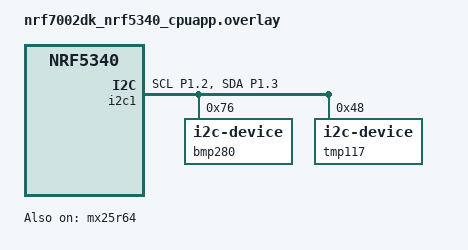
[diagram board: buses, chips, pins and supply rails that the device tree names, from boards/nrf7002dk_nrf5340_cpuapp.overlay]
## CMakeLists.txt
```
cmake_minimum_required(VERSION 3.20.0)

find_package(Zephyr REQUIRED HINTS $ENV{ZEPHYR_BASE})
project(ota_firmware_project)

target_sources(app PRIVATE
    src/main.c
    src/wifi_mgr.c
    src/ota_http.c
    src/user_applications.c
    src/Led_Blink.c
    src/Sensors_OTA.c
)
```

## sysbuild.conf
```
SB_CONFIG_BOOTLOADER_MCUBOOT=y
SB_CONFIG_WIFI_NRF70=y
```

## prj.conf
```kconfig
# =============================================================================
# OTA_FIRM — prj.conf
# Board: nRF7002 DK (nRF5340 Application Core)
# SDK:   nRF Connect SDK v3.2.4 / Zephyr v4.2.99
# Mode:  Internal-flash-only OTA via MCUboot overwrite
# =============================================================================

# --- MCUboot and OTA FOTA ---
CONFIG_BOOTLOADER_MCUBOOT=y
CONFIG_IMG_MANAGER=y
CONFIG_MCUBOOT_IMG_MANAGER=y
CONFIG_STREAM_FLASH=y
CONFIG_FLASH_MAP=y
CONFIG_FLASH=y

# --- External Flash (SPI NOR) ---
CONFIG_SPI=y
CONFIG_SPI_NOR=y
CONFIG_PM_EXTERNAL_FLASH_MCUBOOT_SECONDARY=y

# Phase 3 (Logic only): Enable JSON parsing & CRC checks
CONFIG_CJSON_LIB=y
CONFIG_CRC=y
CONFIG_CBPRINTF_FP_SUPPORT=y
CONFIG_I2C=y

# --- OTA image count ---
CONFIG_UPDATEABLE_IMAGE_NUMBER=1

# --- Persistent storage (NVS) ---
CONFIG_NVS=y
CONFIG_SETTINGS=y
CONFIG_SETTINGS_NVS=y

# --- Watchdog & reboot ---
# --- Watchdog & reboot ---
CONFIG_WATCHDOG=n
CONFIG_REBOOT=y
CONFIG_RESET_ON_FATAL_ERROR=n

# --- Link Time Optimization ---
CONFIG_LTO=n

# --- Logging (Rich logs enabled for Logic debugging) ---
CONFIG_LOG=y
CONFIG_LOG_DEFAULT_LEVEL=3

# --- Wi-Fi driver ---
CONFIG_WIFI=y
CONFIG_WIFI_NRF70=y
CONFIG_WIFI_NM=y
CONFIG_WIFI_NM_WPA_SUPPLICANT=y

# Disable WPA3 — we use WPA2-PSK only. WPA3 code adds ~15-20 KB.
CONFIG_WIFI_NM_WPA_SUPPLICANT_WPA3=n

# Wi-Fi credentials stored in Kconfig (static, no shell needed).
CONFIG_WIFI_CREDENTIALS=y
CONFIG_WIFI_CREDENTIALS_STATIC=y
CONFIG_WIFI_CREDENTIALS_STATIC_SSID="STECH"
CONFIG_WIFI_CREDENTIALS_STATIC_PASSWORD="$tech1311"

# Wi-Fi ready library: fires wifi_ready_cb() when nRF7002 firmware is ready.
CONFIG_WIFI_READY_LIB=y

# RPU recovery: restarts the nRF7002 if it stops responding.
CONFIG_NRF_WIFI_RPU_RECOVERY=y

# --- Networking core ---
CONFIG_NETWORKING=y
CONFIG_NET_IPV4=y
CONFIG_NET_TCP=y
CONFIG_NET_UDP=y
CONFIG_NET_SOCKETS=y
CONFIG_NET_L2_ETHERNET=y
CONFIG_NET_DHCPV4=y
CONFIG_NET_MGMT=y
CONFIG_NET_MGMT_EVENT=y
CONFIG_NET_MGMT_EVENT_INFO=y
CONFIG_NET_MGMT_EVENT_QUEUE_TIMEOUT=5000

# --- Connection Manager ---
CONFIG_NET_CONNECTION_MANAGER=y

# --- HTTP/HTTPS client & DNS (Phase 3) ---
CONFIG_HTTP_CLIENT=y
CONFIG_DNS_RESOLVER=y
CONFIG_NET_SOCKETS_POLL_MAX=10
CONFIG_NET_CONTEXT_SYNC_RECV=y
CONFIG_NET_CONFIG_SETTINGS=y
CONFIG_NET_CONFIG_INIT_TIMEOUT=0
CONFIG_NET_MAX_CONTEXTS=5

# --- Secure Sockets (TLS / GitHub HTTPS) ---
CONFIG_MBEDTLS=y
CONFIG_MBEDTLS_ENABLE_HEAP=y
CONFIG_MBEDTLS_HEAP_SIZE=81920
CONFIG_MBEDTLS_PEM_PARSE_C=y
CONFIG_MBEDTLS_TLS_VERSION_1_2=y
CONFIG_MBEDTLS_MAC_SHA256_ENABLED=y
CONFIG_NET_SOCKETS_SOCKOPT_TLS=y
CONFIG_NET_SOCKETS_TLS_MAX_CONTEXTS=2

# --- Secure Sockets Explicit SNI & Debug ---
CONFIG_MBEDTLS_MPI_MAX_SIZE=512
CONFIG_NET_LOG=n

# --- Network buffer pools (from official NCS STA sample) ---
CONFIG_NET_PKT_RX_COUNT=16
CONFIG_NET_PKT_TX_COUNT=16
CONFIG_NET_BUF_RX_COUNT=16
CONFIG_NET_BUF_TX_COUNT=32
CONFIG_NRF70_RX_NUM_BUFS=16

# --- Heap pools ---
# These are RAM values (do not affect flash size) but must be correct for
# the nRF7002 WPA supplicant stack to function reliably.
CONFIG_HEAP_MEM_POOL_SIZE=120000
CONFIG_HEAP_MEM_POOL_IGNORE_MIN=y
CONFIG_NRF_WIFI_CTRL_HEAP_SIZE=20000
CONFIG_NRF_WIFI_DATA_HEAP_SIZE=40000

# --- Stack sizes ---
# mbedTLS requires significantly larger stacks for TLS handshake operations.
# TLS certificate verification and key exchange alone can consume 8-10 KB.
CONFIG_MAIN_STACK_SIZE=8192
CONFIG_NET_TX_STACK_SIZE=4096
CONFIG_NET_RX_STACK_SIZE=4096
CONFIG_NET_TC_TX_COUNT=1
CONFIG_NET_IF_UNICAST_IPV4_ADDR_COUNT=1
CONFIG_WIFI_NM_WPA_SUPPLICANT_THREAD_STACK_SIZE=8192

# --- Security ---
CONFIG_NRF_SECURITY=y

# --- POSIX timers (required by WPA supplicant) ---
CONFIG_POSIX_TIMERS=y

# --- Entropy ---
CONFIG_ENTROPY_GENERATOR=y

# --- Code size: CRITICAL ---
# Without SIZE_OPTIMIZATIONS the Wi-Fi stack will not fit the 480 KB slot.
CONFIG_SIZE_OPTIMIZATIONS=y

# Explicitly disable IPv6 (saves ~20 KB of code and RAM)
CONFIG_NET_IPV6=n

# Re-enable printk so we can see the fatal crash dump
CONFIG_PRINTK=y

# Explicitly strip WPA Supplicant internal debug strings (saves ~30+ KB of rodata)
CONFIG_WIFI_NM_WPA_SUPPLICANT_NO_DEBUG=y

# Ensure Asserts are completely compiled out
CONFIG_ASSERT=n
CONFIG_SPI_NOR_FLASH_LAYOUT_PAGE_SIZE=4096

CONFIG_HWINFO=y
```

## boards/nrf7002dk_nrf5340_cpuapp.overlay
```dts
/*
 * nRF7002 DK board overlay for External Flash FOTA.
 */

/ {
	chosen {
		nordic,pm-ext-flash = &mx25r64;
	};
};

&mx25r64 {
	status = "okay";
};

&pinctrl {
	i2c1_default: i2c1_default {
		group1 {
			psels = <NRF_PSEL(TWIM_SCL, 1, 2)>,
					<NRF_PSEL(TWIM_SDA, 1, 3)>;
			bias-pull-up;
		};
	};
	i2c1_sleep: i2c1_sleep {
		group1 {
			psels = <NRF_PSEL(TWIM_SCL, 1, 2)>,
					<NRF_PSEL(TWIM_SDA, 1, 3)>;
			low-power-enable;
		};
	};
};

&i2c1 {
	status = "okay";
	pinctrl-0 = <&i2c1_default>;
	pinctrl-1 = <&i2c1_sleep>;
	pinctrl-names = "default", "sleep";

	bmp280: bmp280@76 {
		compatible = "i2c-device";
		status = "okay";
		reg = <0x76>;
	};

	tmp117: tmp117@48 {
		compatible = "i2c-device";
		status = "okay";
		reg = <0x48>;
	};
};
```

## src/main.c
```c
/*
 * main.c — System Orchestrator
 *
 * This file contains ONLY system-level initialisation and lifecycle
 * management. All domain-specific logic is delegated to dedicated
 * modules:
 *
 *   wifi_mgr.c   — Wi-Fi connection lifecycle
 *   ota_http.c   — OTA polling, download, and integrity engine
 *   user_applications.c  — Product-specific behaviour (LED blink, etc.)
 *
 * To port the OTA system to a different product, replace ONLY
 * user_applications.c and user_applications.h. Everything else stays untouched.
 *
 * Board: nRF7002 DK (nRF5340 Application Core)
 * SDK:   nRF Connect SDK v3.2.4 / Zephyr v4.2.99
 */

#include <zephyr/kernel.h>
#include <zephyr/logging/log.h>
#include <zephyr/net/tls_credentials.h>
#include <zephyr/dfu/mcuboot.h>

#include "github_certs.h"
#include "wifi_mgr.h"
#include "ota_http.h"
#include "user_applications.h"

LOG_MODULE_REGISTER(main, LOG_LEVEL_INF);

/* -------------------------------------------------------------------------
 * Callback: Invoked by wifi_mgr when DHCP assigns an IP address
 * -------------------------------------------------------------------------*/
static void on_network_ready(const char *ip_str)
{
	LOG_INF("[NET] Ready — IP: %s", ip_str);
	ota_start();
}

/* -------------------------------------------------------------------------
 * main — System entry point
 * -------------------------------------------------------------------------*/
int main(void)
{
	LOG_INF("=== OTA Firmware System — Modular Architecture ===");

	/* 1. MCUboot image confirmation (rollback failsafe) */
#ifdef CONFIG_BOOTLOADER_MCUBOOT
	int rc = boot_write_img_confirmed();
	if (rc == 0) {
		LOG_INF("Firmware image confirmed successfully!");
	} else if (rc == -EALREADY) {
		LOG_INF("Firmware image was already confirmed.");
	} else {
		LOG_WRN("Failed to confirm firmware image: %d", rc);
	}
#endif

	/* 2. Register the GitHub Root CA for TLS Handshakes */
	int err = tls_credential_add(GITHUB_CA_CERT_TAG,
				     TLS_CREDENTIAL_CA_CERTIFICATE,
				     github_ca_cert,
				     sizeof(github_ca_cert));
	if (err < 0) {
		LOG_ERR("Failed to register CA cert: %d", err);
	}

	/* 3. Initialise Wi-Fi — OTA starts automatically on IP assignment */
	wifi_mgr_init(on_network_ready);

	/* 4. Initialise and run the product application */
	user_applications_init();
	user_applications_run(); /* Never returns */

	return 0;
}
```

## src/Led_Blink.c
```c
/*
 * Led_Blink.c — LED Control Module
 *
 * Encapsulates all LED hardware interaction.
 * V1: Only LED0 blinks.
 * V2: Both LED0 and LED1 blink.
 */

#include <zephyr/kernel.h>
#include <zephyr/drivers/gpio.h>

#include "Led_Blink.h"

static const struct gpio_dt_spec led0 = GPIO_DT_SPEC_GET(DT_ALIAS(led0), gpios);
static const struct gpio_dt_spec led1 = GPIO_DT_SPEC_GET(DT_ALIAS(led1), gpios);

void Led_Blink_init(void)
{
	if (gpio_is_ready_dt(&led0)) {
		gpio_pin_configure_dt(&led0, GPIO_OUTPUT_ACTIVE);
	}
	if (gpio_is_ready_dt(&led1)) {
		gpio_pin_configure_dt(&led1, GPIO_OUTPUT_ACTIVE);
	}
}

void Led_Blink_toggle(void)
{
	if (gpio_is_ready_dt(&led0)) {
		gpio_pin_toggle_dt(&led0);
	}
	if (gpio_is_ready_dt(&led1)) {
		gpio_pin_toggle_dt(&led1);
	}
}
```

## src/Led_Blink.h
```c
/*
 * Led_Blink.h — LED Control Public API
 *
 * Handles all LED initialization and toggling.
 * Completely independent from sensor and OTA logic.
 */

#ifndef Led_Blink_H_
#define Led_Blink_H_

/**
 * @brief Configure LED GPIOs.
 */
void Led_Blink_init(void);

/**
 * @brief Toggle all active LEDs once.
 */
void Led_Blink_toggle(void);

#endif /* Led_Blink_H_ */
```

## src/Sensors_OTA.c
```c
/*
 * Sensors_OTA.c — Temperature Sensor Module
 *
 * Encapsulates all BMP280 + TMP117 I2C communication,
 * calibration, compensation math, and display logic.
 */

#include <zephyr/kernel.h>
#include <zephyr/logging/log.h>
#include <zephyr/device.h>
#include <zephyr/devicetree.h>
#include <zephyr/drivers/i2c.h>
#include <zephyr/sys/printk.h>
#include <math.h>

#include "Sensors_OTA.h"

LOG_MODULE_REGISTER(Sensors_OTA, LOG_LEVEL_INF);

/* -------------------------------------------------------------------------
 * I2C Device Tree Nodes
 * -------------------------------------------------------------------------*/
#define BMP_NODE DT_NODELABEL(bmp280)
#define TMP_NODE DT_NODELABEL(tmp117)

static const struct i2c_dt_spec bmp = I2C_DT_SPEC_GET(BMP_NODE);
static const struct i2c_dt_spec tmp = I2C_DT_SPEC_GET(TMP_NODE);

/* Runtime fallback spec for BMP280 at 0x77 (SDO pulled HIGH) */
static struct i2c_dt_spec bmp_alt;
static const struct i2c_dt_spec *bmp_active = &bmp; /* Points to working address */

/* -------------------------------------------------------------------------
 * BMP280 Registers & Constants
 * -------------------------------------------------------------------------*/
#define BMP_CTRLMEAS           0xF4
#define BMP_CALIB00            0x88
#define BMP_ID                 0xD0
#define BMP_TEMPMSB            0xFA
#define BMP_CHIP_ID            0x58
#define BMP_CONFIG_VALUE       0x93

/* -------------------------------------------------------------------------
 * TMP117 Registers & Constants
 * -------------------------------------------------------------------------*/
#define TMP117_TEMP_REG        0x00
#define TMP117_DEVICE_ID_REG   0x0F
#define TMP117_DEVICE_ID       0x0117

/* -------------------------------------------------------------------------
 * BMP280 Calibration Data
 * -------------------------------------------------------------------------*/
static struct {
	uint16_t dig_t1;
	int16_t dig_t2;
	int16_t dig_t3;
} bmpdata;

static void bmp_calibrationdata(const struct i2c_dt_spec *spec)
{
	uint8_t values[6];
	if (i2c_burst_read_dt(spec, BMP_CALIB00, values, 6) != 0) {
		LOG_ERR("BMP280 calibration read failed");
		return;
	}
	bmpdata.dig_t1 = ((uint16_t)values[1] << 8) | values[0];
	bmpdata.dig_t2 = ((int16_t)values[3] << 8) | values[2];
	bmpdata.dig_t3 = ((int16_t)values[5] << 8) | values[4];
}

static int32_t bmp280_compensate_temp(int32_t adc_temp)
{
	int32_t var1, var2;
	var1 = (((adc_temp >> 3) - ((int32_t)bmpdata.dig_t1 << 1)) *
		((int32_t)bmpdata.dig_t2)) >> 11;
	var2 = ((((((adc_temp >> 4) - ((int32_t)bmpdata.dig_t1)) *
		((adc_temp >> 4) - ((int32_t)bmpdata.dig_t1))) >> 12) *
		((int32_t)bmpdata.dig_t3)) >> 14);
	return ((var1 + var2) * 5 + 128) >> 8;
}

/* -------------------------------------------------------------------------
 * Internal: Init & Read BMP280
 * -------------------------------------------------------------------------*/
static int bmp280_init(void)
{
	uint8_t id = 0;
	uint8_t reg = BMP_ID;
	int ret;

	/* --- Try primary address 0x76 (SDO pulled LOW / floating) --- */
	ret = i2c_write_read_dt(&bmp, &reg, 1, &id, 1);
	if (ret != 0) {
		LOG_WRN("BMP280 not found at 0x76 (err %d), trying 0x77...", ret);

		/* --- Fallback: try 0x77 (SDO pulled HIGH) --- */
		bmp_alt = bmp;
		bmp_alt.addr = 0x77;
		ret = i2c_write_read_dt(&bmp_alt, &reg, 1, &id, 1);
		if (ret != 0) {
			LOG_ERR("BMP280 not found at 0x77 either (err %d)", ret);
			LOG_ERR("Check wiring: SCL=P1.02 SDA=P1.03, 3.3V power, GND");
			return -1;
		}
		LOG_INF("BMP280 found at fallback address 0x77");
		bmp_active = &bmp_alt;
	} else {
		LOG_INF("BMP280 found at 0x76");
		bmp_active = &bmp;
	}

	if (id != BMP_CHIP_ID) {
		LOG_ERR("Invalid BMP280 chip ID: 0x%02X (expected 0x58)", id);
		return -1;
	}

	bmp_calibrationdata(bmp_active);
	uint8_t config[] = { BMP_CTRLMEAS, BMP_CONFIG_VALUE };
	if (i2c_write_dt(bmp_active, config, sizeof(config)) != 0) {
		LOG_ERR("BMP280 config write failed");
		return -1;
	}
	return 0;
}

static float read_bmp280_temp(void)
{
	uint8_t temp_val[3];
	if (i2c_burst_read_dt(bmp_active, BMP_TEMPMSB, temp_val, 3) != 0) {
		return -999.0f;
	}
	int32_t adc_temp = ((int32_t)temp_val[0] << 12) |
			   ((int32_t)temp_val[1] << 4) |
			   ((int32_t)temp_val[2] >> 4);
	return (float)bmp280_compensate_temp(adc_temp) / 100.0f;
}

/* -------------------------------------------------------------------------
 * Internal: Init & Read TMP117
 * -------------------------------------------------------------------------*/
static int tmp117_init(void)
{
	uint8_t reg = TMP117_DEVICE_ID_REG;
	uint8_t id_buf[2];
	if (i2c_write_read_dt(&tmp, &reg, 1, id_buf, 2) != 0) {
		LOG_ERR("TMP117 ID read failed");
		return -1;
	}
	uint16_t id = ((uint16_t)id_buf[0] << 8) | id_buf[1];
	if (id != TMP117_DEVICE_ID) {
		LOG_ERR("Invalid TMP117 ID: 0x%04X", id);
		return -1;
	}
	return 0;
}

static float read_tmp117_temp(void)
{
	uint8_t reg = TMP117_TEMP_REG;
	uint8_t data[2];
	if (i2c_write_read_dt(&tmp, &reg, 1, data, 2) != 0) {
		return -999.0f;
	}
	int16_t raw = ((int16_t)data[0] << 8) | data[1];
	return raw * 0.0078125f;
}

/* -------------------------------------------------------------------------
 * Public API
 * -------------------------------------------------------------------------*/
int Sensors_OTA_init(void)
{
	if (!i2c_is_ready_dt(&bmp)) {
		LOG_ERR("I2C bus not ready — check CONFIG_I2C=y and overlay");
		return -1;
	}
	LOG_INF("I2C bus ready. Scanning for sensors...");

	if (bmp280_init() != 0) {
		LOG_ERR("BMP280 init failed — is the sensor wired to P1.02(SCL) P1.03(SDA)?");
		return -1;
	}
	if (tmp117_init() != 0) {
		LOG_ERR("TMP117 init failed — check address 0x48");
		return -1;
	}
	LOG_INF("BMP280 + TMP117 initialized successfully!");
	return 0;
}

void Sensors_OTA_read_and_log(void)
{
	float bmp_temp = read_bmp280_temp();
	float tmp_temp = read_tmp117_temp();

	if (bmp_temp == -999.0f || tmp_temp == -999.0f) {
		LOG_WRN("Failed to read sensors");
		return;
	}

	float arithmetic_mean = (bmp_temp + tmp_temp) / 2.0f;
	float weighted_mean = (0.3f * bmp_temp) + (0.7f * tmp_temp);
	float difference = fabsf(bmp_temp - tmp_temp);
	float error_percent = (difference / fabsf(tmp_temp)) * 100.0f;

	printk("\n====================================================\n");
	printk("BMP280 Temperature : %.2f C\n", (double)bmp_temp);
	printk("TMP117 Temperature : %.2f C\n\n", (double)tmp_temp);
	printk("Arithmetic Mean    : %.2f C\n", (double)arithmetic_mean);
	printk("Weighted Mean      : %.2f C\n\n", (double)weighted_mean);
	printk("Difference         : %.2f C\n", (double)difference);
	printk("Error Percentage   : %.2f %%\n", (double)error_percent);

	if (error_percent < 3.0f) {
		printk("Status             : NORMAL\n");
	} else if (error_percent < 5.0f) {
		printk("Status             : WARNING\n");
	} else {
		printk("Status             : SENSOR MISMATCH\n");
	}
	printk("Reference Sensor   : TMP117\n");
	printk("====================================================\n");
}
```

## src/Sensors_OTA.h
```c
/*
 * Sensors_OTA.h — Temperature Sensor Public API
 *
 * Handles BMP280 + TMP117 initialization and reading over I2C.
 * Completely independent from LED and OTA logic.
 */

#ifndef Sensors_OTA_H_
#define Sensors_OTA_H_

/**
 * @brief Initialize BMP280 and TMP117 sensors over I2C.
 * @return 0 on success, negative on failure.
 */
int Sensors_OTA_init(void);

/**
 * @brief Read both sensors and print the comparison table.
 */
void Sensors_OTA_read_and_log(void);

#endif /* Sensors_OTA_H_ */
```

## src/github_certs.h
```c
#ifndef GITHUB_CERTS_H_
#define GITHUB_CERTS_H_

/*
 * Let's Encrypt Root YR (Intermediate Certificate Authority)
 * This certificate has a 2048-bit RSA key, which is fully supported
 * by the nRF5340's CC312 hardware cryptographic accelerator (limited to 3072 bits).
 *
 * Subject: CN = Root YR
 * Issuer: CN = ISRG Root X1
 * Validity: Sep 3, 2025 to Sep 2, 2028
 */
static const unsigned char github_ca_cert[] =
"-----BEGIN CERTIFICATE-----\n"
"MIIE2jCCAsKgAwIBAgIQTr0klH4k05SALYSlL9WzGTANBgkqhkiG9w0BAQsFADAu\n"
"MQswCQYDVQQGEwJVUzENMAsGA1UEChMESVNSRzEQMA4GA1UEAxMHUm9vdCBZUjAe\n"
"Fw0yNTA5MDMwMDAwMDBaFw0yODA5MDIyMzU5NTlaMDMxCzAJBgNVBAYTAlVTMRYw\n"
"FAYDVQQKEw1MZXQncyBFbmNyeXB0MQwwCgYDVQQDEwNZUjIwggEiMA0GCSqGSIb3\n"
"DQEBAQUAA4IBDwAwggEKAoIBAQDZ0LxwBppqh84luqMerV/eeL/fXQ7mLQQv1Lnp\n"
"WKZbyvGpx6wh6AfnslAnF6ewTkcHA+gSOoBvm3Dfm06AuGiF+KRut4fAcowqnAQQ\n"
"CW98+QPP/eOv/wug7Iyk4NkOxf2I6g2f55T6nJoOTLFcukeRq80JGQEYan+dPFr9\n"
"OGUgQK2hGKgNkW87pappsOAuUJcroYhRt5uUis4qaZireiseu32gzDJNBAiKtsvd\n"
"6HX4v25bpkRNcS/B/Gtc9kVbUpD+2PLPxdei3Tim55k4tfAEXwD2qyiPTxrTNq6l\n"
"N+AMr5g2c1dNqkOTwjxeV6L5lpP1rGiYvLnRaPlOqyZRPW+5AgMBAAGjge4wgesw\n"
"DgYDVR0PAQH/BAQDAgGGMBMGA1UdJQQMMAoGCCsGAQUFBwMBMBIGA1UdEwEB/wQI\n"
"MAYBAf8CAQAwHQYDVR0OBBYEFEAVLSZ57TIgnt+ach3WMh+BDIEMMB8GA1UdIwQY\n"
"MBaAFN7nW2DQIm1AKH0/DQH+pLVStFGUMDIGCCsGAQUFBwEBBCYwJDAiBggrBgEF\n"
"BQcwAoYWaHR0cDovL3lyLmkubGVuY3Iub3JnLzATBgNVHSAEDDAKMAgGBmeBDAEC\n"
"ATAnBgNVHR8EIDAeMBygGqAYhhZodHRwOi8veXIuYy5sZW5jci5vcmcvMA0GCSqG\n"
"SIb3DQEBCwUAA4ICAQB0ZUQWZ9/Yn9COEpo+JfecMnB0h0vwDm/M66IqXqw3LoaL\n"
"mx9lZvRTeDIS67PUeI3yCA2W6PKRD0/FE/G57lOmS+Xy5AaaL00ICGOqjNcCaMWW\n"
"8o8nevHOd4i4lqgtznE/28QwlcdJyF8yBiWHpnyjhEpmNWJURgOCOg2xpwRMBCsj\n"
"MScqYPtOhBeuYQvSwAEeTML2Ukh6uGuX4E14q65Ja8cdjF5bAldnP1eE4FBaAwsZ\n"
"G2fOqqrKV03Y85Nw2btedP1AtliQuJZs/Jo/gXxXdc7LrH3McgnpnbTiAncX7yES\n"
"hP6kzQejllqMCIt52HOjxDGWafS7Xw+DKwqmH+Eqy8dcbOuag/1AYlQoKNVK3F5q\n"
"Hh6tEDiMqQcLIibGKteE6iHo4A/bIScbzrhXUYuism42ZYzmc48FMVIH3qy4L84E\n"
"TdAH2gtxw0PAhvRVXp8HP7wfngpzsN/8xOTpeRSbM4+Qbc56G6+Bifmv6sk1ieQb\n"
"NA3wJdl4DDUuQSV8hBgx6zoI1ZSGORprDFux7c6rhc77QZMSRrEgomBeklervEve\n"
"86ylWmZ3WWHV6RLMi8xNvjd71r4EPIGgY7BZU/VPBkq+uA7Gb6mbJnFgV43uh3xy\n"
"LRFgxIAphIukwTGSMZZR+AI+Qnp0BYTWovHXozOf3H8r6hozEoT02JHn0AeTfA==\n"
"-----END CERTIFICATE-----\n";

#define GITHUB_CA_CERT_TAG 1

#endif /* GITHUB_CERTS_H_ */
```

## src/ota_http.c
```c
/*
 * ota_http.c — Enterprise OTA FOTA Engine
 *
 * Self-contained OTA module implementing:
 *   - Background 24-hour polling thread
 *   - HTTPS/TLS 1.2 connection to GitHub
 *   - MAC-based device authorisation
 *   - JSON manifest parsing (version, file_size, image URL, SHA256)
 *   - Streamed firmware download with real-time SHA256 hashing
 *   - File size verification
 *   - MCUboot upgrade request with rollback failsafe
 *   - Professional performance and reliability logging
 *
 * Board: nRF7002 DK (nRF5340 Application Core)
 * SDK:   nRF Connect SDK v3.2.4 / Zephyr v4.2.99
 */

#include <zephyr/kernel.h>
#include <zephyr/logging/log.h>
#include <zephyr/net/socket.h>
#include <zephyr/net/http/client.h>
#include <zephyr/net/tls_credentials.h>
#include <zephyr/dfu/mcuboot.h>
#include <zephyr/sys/reboot.h>
#include <zephyr/drivers/flash.h>
#include <zephyr/dfu/flash_img.h>
#include <zephyr/sys/util.h>
#include <cJSON.h>
#include <mbedtls/sha256.h>
#include <zephyr/drivers/hwinfo.h>
#include <zephyr/sys/crc.h>
#include <zephyr/sys/printk.h>

#include "ota_http.h"
#include "github_certs.h"

LOG_MODULE_REGISTER(ota_http, LOG_LEVEL_INF);

/* -------------------------------------------------------------------------
 * Configuration
 * -------------------------------------------------------------------------*/
#define OTA_SERVER_HOST "raw.githubusercontent.com"
#define OTA_SERVER_PORT "443"
#define MANIFEST_PATH   "/Prateek-303/nrf54-OTA/main/manifest.json"
#define AUTH_PATH       "/Prateek-303/nrf54-OTA/main/authorized_devices.json"

/* Current Firmware Version is dynamically injected from the VERSION file */
#include <zephyr/app_version.h>
#define CURRENT_VERSION APP_VERSION_STRING

/* -------------------------------------------------------------------------
 * Private resources
 * -------------------------------------------------------------------------*/
static K_THREAD_STACK_DEFINE(ota_thread_stack, 12288);
static struct k_thread ota_thread_data;
static atomic_t ota_started = ATOMIC_INIT(0);

/* HTTP receive buffer */
#define RECV_BUF_SIZE 2048
static uint8_t recv_buf[RECV_BUF_SIZE];

/* JSON accumulation buffer (for manifest and auth responses) */
#define JSON_BUF_SIZE 2048
static char json_buffer[JSON_BUF_SIZE];
static size_t json_offset;

/* Firmware flash context */
static struct flash_img_context flash_ctx;

/* Download state tracking */
enum ota_state {
	OTA_STATE_AUTH,
	OTA_STATE_MANIFEST,
	OTA_STATE_BIN,
};
static enum ota_state current_state;
static size_t downloaded_bytes;
static size_t expected_file_size;
static char target_version[32];
static char target_url[256];
static char expected_sha256[65];
static char expected_crc32[10];
static uint32_t current_crc32;

/* SHA256 streaming context */
static mbedtls_sha256_context sha_ctx;

/* -------------------------------------------------------------------------
 * HTTP response callback — dispatches body data by current_state
 * -------------------------------------------------------------------------*/
static int http_response_cb(struct http_response *rsp,
			     enum http_final_call final_data,
			     void *user_data)
{
	ARG_UNUSED(user_data);

	if (rsp->body_frag_len == 0) {
		return 0;
	}

	switch (current_state) {
	case OTA_STATE_AUTH:
	case OTA_STATE_MANIFEST: {
		size_t copy_len = MIN(rsp->body_frag_len,
				      JSON_BUF_SIZE - json_offset - 1);
		if (copy_len > 0) {
			memcpy(&json_buffer[json_offset], rsp->body_frag_start,
			       copy_len);
			json_offset += copy_len;
			json_buffer[json_offset] = '\0';
		}
		break;
	}
	case OTA_STATE_BIN: {
		int rc = flash_img_buffered_write(&flash_ctx,
						  rsp->body_frag_start,
						  rsp->body_frag_len,
						  final_data == HTTP_DATA_FINAL);
		if (rc < 0) {
			printk("\n");
			LOG_ERR("Flash write failed at offset %zu (err %d)",
				downloaded_bytes, rc);
			return rc;
		}
		/* Update streaming hashes */
		mbedtls_sha256_update(&sha_ctx, rsp->body_frag_start,
				      rsp->body_frag_len);
		current_crc32 = crc32_ieee_update(current_crc32, rsp->body_frag_start, rsp->body_frag_len);
		downloaded_bytes += rsp->body_frag_len;

		if (expected_file_size > 0) {
			int percent = (int)((downloaded_bytes * 100UL) / expected_file_size);
			int bars = percent / 5;
			char bar_str[21];

			for (int i = 0; i < 20; i++) {
				bar_str[i] = (i < bars) ? '#' : '-';
			}
			bar_str[20] = '\0';
			/* \r returns cursor to start of line — overwrites previous bar */
			printk("\r  [%-20s] %3d%%  %zu/%zu B",
			       bar_str, percent,
			       downloaded_bytes, expected_file_size);
		}

		if (final_data == HTTP_DATA_FINAL) {
			printk("\n");
		}
		break;
	}
	}
	return 0;
}

/* -------------------------------------------------------------------------
 * Check device authorisation against GitHub whitelist
 * -------------------------------------------------------------------------*/
static bool check_authorization(void)
{
	/* Read the hardware MAC address */
	uint8_t dev_id[8];
	char dev_id_str[17];
	ssize_t id_len = hwinfo_get_device_id(dev_id, sizeof(dev_id));

	if (id_len <= 0) {
		LOG_ERR("Failed to read hardware device ID (err %zd)", id_len);
		return false;
	}

	/* Convert binary MAC to hex string */
	for (int i = 0; i < (int)id_len && i < 8; i++) {
		sprintf(&dev_id_str[i * 2], "%02x", dev_id[i]);
	}
	dev_id_str[id_len * 2] = '\0';

	/* Parse the authorised devices JSON */
	bool authorized = false;
	cJSON *root = cJSON_Parse(json_buffer);

	if (!root) {
		LOG_ERR("Failed to parse authorized_devices.json");
		return false;
	}

	cJSON *devices = cJSON_GetObjectItem(root, "authorized_devices");

	if (cJSON_IsArray(devices)) {
		cJSON *dev;
		cJSON_ArrayForEach(dev, devices) {
			if (cJSON_IsString(dev) && strcmp(dev->valuestring, dev_id_str) == 0) {
				authorized = true;
				break;
			}
		}
	}

	cJSON_Delete(root);

	if (authorized) {
		LOG_INF("[AUTH] Device %s is whitelisted.", dev_id_str);
	} else {
		LOG_ERR("[AUTH] Device %s is NOT AUTHORIZED! Update forcefully blocked.", dev_id_str);
	}

	return authorized;
}

/* -------------------------------------------------------------------------
 * Parse and validate JSON manifest
 * -------------------------------------------------------------------------*/
static bool parse_manifest(void)
{
	bool should_update = false;

	cJSON *root = cJSON_Parse(json_buffer);
	if (!root) {
		LOG_ERR("Failed to parse JSON.");
		return false;
	}

	cJSON *version = cJSON_GetObjectItem(root, "version");
	cJSON *file_size = cJSON_GetObjectItem(root, "file_size");
	cJSON *image_url = cJSON_GetObjectItem(root, "image");
	cJSON *sha256 = cJSON_GetObjectItem(root, "sha256");
	cJSON *crc32 = cJSON_GetObjectItem(root, "crc32");

	if (cJSON_IsString(version) && cJSON_IsNumber(file_size) && cJSON_IsString(image_url)) {
		LOG_INF("[OTA] Cloud Version: %s | Current: %s", version->valuestring, CURRENT_VERSION);
		
		if (cJSON_IsString(sha256)) {
			strncpy(expected_sha256, sha256->valuestring, sizeof(expected_sha256) - 1);
		} else {
			LOG_WRN("-> SHA256 missing! Integrity check will be skipped.");
			expected_sha256[0] = '\0';
		}
		
		if (cJSON_IsString(crc32)) {
			strncpy(expected_crc32, crc32->valuestring, sizeof(expected_crc32) - 1);
		} else {
			expected_crc32[0] = '\0';
		}

		/* Version Check (Simple String Compare) */
		if (strcmp(CURRENT_VERSION, version->valuestring) != 0) {
			LOG_INF("[OTA] New version found! Downloading...");
			strncpy(target_version, version->valuestring, sizeof(target_version) - 1);
			snprintf(target_url, sizeof(target_url), "/Prateek-303/nrf54-OTA/main%s%s", 
				 (image_url->valuestring[0] == '/') ? "" : "/", image_url->valuestring);
			expected_file_size = file_size->valueint;
			should_update = true;
		} else {
			LOG_INF("[OTA] Firmware is up to date.");
		}
	} else {
		LOG_ERR("Manifest missing required fields.");
	}

	cJSON_Delete(root);
	return should_update;
}

/* -------------------------------------------------------------------------
 * ota_worker — Background thread entry point (24-hour polling loop)
 * -------------------------------------------------------------------------*/
static void ota_worker(void *p1, void *p2, void *p3)
{
	ARG_UNUSED(p1);
	ARG_UNUSED(p2);
	ARG_UNUSED(p3);

	while (1) {
		int rc;
		int sock = -1;
		struct zsock_addrinfo hints = {0};
		struct zsock_addrinfo *res = NULL;

		LOG_INF("[OTA] Checking for updates...");

		/* Set system clock to a valid date to pass certificate validity checks */
		struct timespec ts = {
			.tv_sec = 1782223200, /* June 23, 2026 14:00:00 UTC */
			.tv_nsec = 0
		};
		clock_settime(CLOCK_REALTIME, &ts);

		/* 1. DNS Resolution */
		hints.ai_family = AF_INET;
		hints.ai_socktype = SOCK_STREAM;
		rc = zsock_getaddrinfo(OTA_SERVER_HOST, OTA_SERVER_PORT, &hints, &res);
		if (rc != 0) {
			LOG_ERR("[RELIABILITY FAIL] DNS Resolution failed for %s (err %d)", OTA_SERVER_HOST, rc);
			goto cleanup;
		}

		/* 2. Open Secure TLS Socket */
		sock = zsock_socket(AF_INET, SOCK_STREAM, IPPROTO_TLS_1_2);
		if (sock < 0) {
			LOG_ERR("[RELIABILITY FAIL] Hardware TLS Socket creation failed (err %d)", errno);
			goto cleanup;
		}

		int verify = TLS_PEER_VERIFY_REQUIRED;
		zsock_setsockopt(sock, SOL_TLS, TLS_PEER_VERIFY, &verify, sizeof(verify));

		sec_tag_t sec_tag_list[] = { GITHUB_CA_CERT_TAG };
		zsock_setsockopt(sock, SOL_TLS, TLS_SEC_TAG_LIST, sec_tag_list, sizeof(sec_tag_list));
		zsock_setsockopt(sock, SOL_TLS, TLS_HOSTNAME, OTA_SERVER_HOST, strlen(OTA_SERVER_HOST));

		rc = zsock_connect(sock, res->ai_addr, res->ai_addrlen);
		if (rc < 0) {
			LOG_ERR("TLS Handshake failed (err %d)", errno);
			goto cleanup;
		}

		/* 3. Fetch Authorization List */
		current_state = OTA_STATE_AUTH;
		json_offset = 0;
		memset(json_buffer, 0, JSON_BUF_SIZE);

		struct http_request req = {0};
		req.method = HTTP_GET;
		req.url = AUTH_PATH;
		req.host = OTA_SERVER_HOST;
		req.protocol = "HTTP/1.1";
		req.response = http_response_cb;
		req.recv_buf = recv_buf;
		req.recv_buf_len = sizeof(recv_buf);

		rc = http_client_req(sock, &req, SYS_FOREVER_MS, NULL);
		if (rc < 0 || json_offset == 0) {
			LOG_ERR("Auth HTTP request failed. Assuming missing auth list.");
			goto cleanup;
		}

		/* Check if it's a 404 text instead of JSON */
		if (strstr(json_buffer, "404") != NULL && json_offset < 50) {
			LOG_ERR("authorized_devices.json NOT FOUND on GitHub! You must create it.");
			goto cleanup;
		}

		if (!check_authorization()) {
			goto cleanup; /* Blocked */
		}

		/* 4. Fetch Manifest */
		current_state = OTA_STATE_MANIFEST;
		json_offset = 0;
		memset(json_buffer, 0, JSON_BUF_SIZE);

		memset(&req, 0, sizeof(req));
		req.method = HTTP_GET;
		req.url = MANIFEST_PATH;
		req.host = OTA_SERVER_HOST;
		req.protocol = "HTTP/1.1";
		req.response = http_response_cb;
		req.recv_buf = recv_buf;
		req.recv_buf_len = sizeof(recv_buf);

		rc = http_client_req(sock, &req, SYS_FOREVER_MS, NULL);
		if (rc < 0) {
			LOG_ERR("Manifest HTTP request failed (err %d)", rc);
			goto cleanup;
		}

		/* 5. Parse Manifest & Check Version */
		if (!parse_manifest()) {
			goto cleanup; /* Either up to date or parsing failed */
		}

		/* 6. Prepare Flash for Download */
		rc = flash_img_init(&flash_ctx);
		if (rc < 0) {
			LOG_ERR("Failed to initialize flash image context (err %d)", rc);
			goto cleanup;
		}
		
		/* 7. Fetch Firmware Binary */
		current_state = OTA_STATE_BIN;
		downloaded_bytes = 0;
		current_crc32 = 0;
		mbedtls_sha256_init(&sha_ctx);
		mbedtls_sha256_starts(&sha_ctx, 0);
		
		memset(&req, 0, sizeof(req));
		req.method = HTTP_GET;
		req.url = target_url;
		req.host = OTA_SERVER_HOST;
		req.protocol = "HTTP/1.1";
		req.response = http_response_cb;
		req.recv_buf = recv_buf;
		req.recv_buf_len = sizeof(recv_buf);

		uint32_t start_time = k_uptime_get_32();
		rc = http_client_req(sock, &req, SYS_FOREVER_MS, NULL);
		uint32_t end_time = k_uptime_get_32();
		uint32_t duration_ms = end_time - start_time;
		
		/* Finish SHA256 */
		uint8_t final_hash[32];
		char final_hash_str[65];
		mbedtls_sha256_finish(&sha_ctx, final_hash);
		mbedtls_sha256_free(&sha_ctx);
		
		if (rc < 0) {
			LOG_ERR("[RELIABILITY FAIL] Network download interrupted (err %d). Aborting.", rc);
			goto cleanup;
		}

		/* 8. Finalize, Check Integrity, and Reboot */
		if (downloaded_bytes == expected_file_size) {
			
			/* Check CRC32 if provided */
			if (strlen(expected_crc32) > 0) {
				char final_crc32_str[10];
				sprintf(final_crc32_str, "%08x", current_crc32);
				if (strcmp(final_crc32_str, expected_crc32) != 0) {
					LOG_ERR("[FAIL] CRC32 Mismatch! Expected: %s, Got: %s", expected_crc32, final_crc32_str);
					goto cleanup;
				}
				LOG_INF("[INTEGRITY] CRC32 Verified: %s", final_crc32_str);
			}

			/* Check SHA256 if provided */
			if (strlen(expected_sha256) > 0) {
				for (int i = 0; i < 32; i++) {
					sprintf(&final_hash_str[i * 2], "%02x", final_hash[i]);
				}
				if (strcmp(final_hash_str, expected_sha256) != 0) {
					LOG_ERR("[FAIL] SHA256 Mismatch! Corrupted Firmware Detected.");
					LOG_ERR("Expected: %s", expected_sha256);
					LOG_ERR("Calculated: %s", final_hash_str);
					goto cleanup;
				}
				LOG_INF("[INTEGRITY] SHA256 Verified: %s", final_hash_str);
			}

			uint32_t throughput = (downloaded_bytes * 1000) / (duration_ms > 0 ? duration_ms : 1);
			LOG_INF("[PERF] Downloaded %zu bytes in %u ms (%u B/s)", downloaded_bytes, duration_ms, throughput);

			rc = boot_request_upgrade(BOOT_UPGRADE_TEST);
			if (rc < 0) {
				LOG_ERR("Failed to request upgrade (err %d)", rc);
			} else {
				LOG_INF("[OTA] Update staged. Rebooting in 3 seconds...");
				k_sleep(K_SECONDS(3));
				sys_reboot(SYS_REBOOT_COLD);
			}
		} else {
			LOG_ERR("Downloaded size (%zu) does not match expected size (%zu). Aborting.", downloaded_bytes, expected_file_size);
		}

cleanup:
		if (sock >= 0) {
			zsock_close(sock);
		}
		if (res != NULL) {
			zsock_freeaddrinfo(res);
		}
		LOG_DBG("OTA check finished. Sleeping for 24 hours...");
		k_sleep(K_HOURS(24));
	}
}

/* -------------------------------------------------------------------------
 * Public API
 * -------------------------------------------------------------------------*/
void ota_start(void)
{
	if (atomic_cas(&ota_started, 0, 1)) {
		k_thread_create(&ota_thread_data, ota_thread_stack,
				K_THREAD_STACK_SIZEOF(ota_thread_stack),
				ota_worker, NULL, NULL, NULL,
				K_PRIO_COOP(7), 0, K_NO_WAIT);
	}
}
```

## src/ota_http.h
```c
/*
 * ota_http.h — OTA Engine Public API
 *
 * This header exposes only the single entry point needed by the
 * application layer. All internal state, sockets, and crypto
 * contexts are private to ota_http.c.
 */

#ifndef OTA_HTTP_H_
#define OTA_HTTP_H_

/**
 * @brief Start the OTA background polling thread.
 *
 * Spawns a dedicated thread that periodically connects to the
 * configured GitHub repository over HTTPS, checks for new
 * firmware versions, validates device authorisation and binary
 * integrity, and triggers an MCUboot swap when appropriate.
 *
 * Safe to call exactly once after the network (Wi-Fi + DHCP)
 * is fully operational.
 */
void ota_start(void);

#endif /* OTA_HTTP_H_ */
```

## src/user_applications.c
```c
/*
 * user_applications.c — Application Orchestrator
 *
 * This file wires together the independent application modules:
 *   - Led_Blink.c    → LED blink patterns
 *   - Sensors_OTA.c → BMP280 + TMP117 temperature monitoring
 *
 * OTA Version Strategy:
 *   V1 (1.x.x): LED blink only    → sensor calls COMMENTED OUT
 *   V2 (2.x.x): LEDs + Sensors    → sensor calls UNCOMMENTED
 *
 * The OTA engine (ota_http.c, wifi_mgr.c) never touches this file.
 */

#include <zephyr/kernel.h>
#include <zephyr/logging/log.h>

#include "user_applications.h"
#include "Led_Blink.h"
#include "Sensors_OTA.h"    /* V1: Commented out — uncomment for V2 */

LOG_MODULE_REGISTER(user_applications, LOG_LEVEL_INF);

void user_applications_init(void)
{
	/* LED module — always active */
	Led_Blink_init();

	/* Sensor module — uncomment for V2 OTA update */
	 Sensors_OTA_init(); 
}

void user_applications_run(void)
{
	while (1) {
		/* LEDs — always toggle */
		Led_Blink_toggle();

		/* Sensors — uncomment for V2 OTA update */
		Sensors_OTA_read_and_log(); 

		k_sleep(K_MSEC(500));
	}
}
```

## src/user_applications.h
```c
/*
 * user_applications.h — Application Orchestrator Public API
 *
 * This module wires together the independent application layers:
 *   - Led_Blink    → LED control
 *   - Sensors_OTA → Temperature sensor monitoring
 *
 * The OTA pipeline (ota_http.c, wifi_mgr.c) calls ONLY these
 * two functions. To upgrade the product behaviour via OTA,
 * modify user_applications.c to uncomment/comment the module calls.
 */

#ifndef user_applications_H_
#define user_applications_H_

/**
 * @brief Initialise all application modules (LEDs, sensors, etc.).
 */
void user_applications_init(void);

/**
 * @brief Run the main application loop (never returns).
 */
void user_applications_run(void);

#endif /* user_applications_H_ */
```

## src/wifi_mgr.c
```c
/*
 * wifi_mgr.c — Wi-Fi Connection Manager
 *
 * Encapsulates all Wi-Fi lifecycle management:
 *   - nRF7002 firmware ready gate
 *   - Wi-Fi connect via stored credentials
 *   - DHCP bound event detection
 *   - User callback dispatch on successful IP assignment
 *
 * Board: nRF7002 DK (nRF5340 Application Core)
 * SDK:   nRF Connect SDK v3.2.4 / Zephyr v4.2.99
 */

#include <zephyr/kernel.h>
#include <zephyr/logging/log.h>
#include <zephyr/net/net_if.h>
#include <zephyr/net/net_event.h>
#include <zephyr/net/net_mgmt.h>
#include <zephyr/net/wifi_mgmt.h>

#ifdef CONFIG_WIFI_READY_LIB
#include <net/wifi_ready.h>
#endif

#include "wifi_mgr.h"

LOG_MODULE_REGISTER(wifi_mgr, LOG_LEVEL_INF);

/* -------------------------------------------------------------------------
 * Private state
 * -------------------------------------------------------------------------*/
static struct net_mgmt_event_callback wifi_cb;
static struct net_mgmt_event_callback dhcp_cb;
static wifi_connected_cb_t user_connected_cb;

#ifdef CONFIG_WIFI_READY_LIB
static K_SEM_DEFINE(wifi_ready_sem, 0, 1);
static bool wifi_ready_status;
#endif

/* -------------------------------------------------------------------------
 * Internal event handlers
 * -------------------------------------------------------------------------*/
static void wifi_mgmt_event_handler(struct net_mgmt_event_callback *cb,
				     uint64_t mgmt_event, struct net_if *iface)
{
	ARG_UNUSED(cb);
	ARG_UNUSED(iface);

	if (mgmt_event == NET_EVENT_WIFI_CONNECT_RESULT) {
		const struct wifi_status *status = cb->info;

		if (status->status) {
			LOG_ERR("Wi-Fi connection failed (%d)", status->status);
		} else {
			LOG_INF("Wi-Fi connected — waiting for DHCP...");
		}
	} else if (mgmt_event == NET_EVENT_WIFI_DISCONNECT_RESULT) {
		LOG_WRN("Wi-Fi disconnected");
	}
}

static void dhcp_event_handler(struct net_mgmt_event_callback *cb,
			       uint64_t mgmt_event, struct net_if *iface)
{
	ARG_UNUSED(iface);

	if (mgmt_event == NET_EVENT_IPV4_DHCP_BOUND) {
		const struct net_if_dhcpv4 *dhcpv4 = cb->info;
		char ip_str[NET_IPV4_ADDR_LEN];

		net_addr_ntop(AF_INET, &dhcpv4->requested_ip,
			      ip_str, sizeof(ip_str));

		if (user_connected_cb) {
			user_connected_cb(ip_str);
		}
	}
}

/* -------------------------------------------------------------------------
 * Internal helpers
 * -------------------------------------------------------------------------*/
static int wifi_connect(void)
{
	struct net_if *iface = net_if_get_first_wifi();

	if (!iface) {
		LOG_ERR("No Wi-Fi interface found");
		return -ENODEV;
	}

	int rc = net_mgmt(NET_REQUEST_WIFI_CONNECT_STORED, iface, NULL, 0);

	if (rc) {
		LOG_ERR("Connect request failed: %d", rc);
	}
	return rc;
}

#ifdef CONFIG_WIFI_READY_LIB
static void wifi_ready_cb(bool ready)
{
	wifi_ready_status = ready;
	k_sem_give(&wifi_ready_sem);
}
#endif

/* -------------------------------------------------------------------------
 * Public API
 * -------------------------------------------------------------------------*/
void wifi_mgr_init(wifi_connected_cb_t cb)
{
	user_connected_cb = cb;

	/* Register Wi-Fi and DHCP event callbacks */
	net_mgmt_init_event_callback(&wifi_cb, wifi_mgmt_event_handler,
				     NET_EVENT_WIFI_CONNECT_RESULT |
				     NET_EVENT_WIFI_DISCONNECT_RESULT);
	net_mgmt_add_event_callback(&wifi_cb);

	net_mgmt_init_event_callback(&dhcp_cb, dhcp_event_handler,
				     NET_EVENT_IPV4_DHCP_BOUND);
	net_mgmt_add_event_callback(&dhcp_cb);

#ifdef CONFIG_WIFI_READY_LIB
	wifi_ready_callback_t ready_cb = { .wifi_ready_cb = wifi_ready_cb };
	struct net_if *iface = net_if_get_first_wifi();

	if (iface && register_wifi_ready_callback(ready_cb, iface) == 0) {
		k_sem_take(&wifi_ready_sem, K_FOREVER);
		if (wifi_ready_status) {
			wifi_connect();
		} else {
			LOG_ERR("nRF7002 firmware failed to initialize");
		}
	} else {
		LOG_ERR("Could not register wifi_ready callback");
	}
#else
	wifi_connect();
#endif
}
```

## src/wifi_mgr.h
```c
/*
 * wifi_mgr.h — Wi-Fi Connection Manager Public API
 *
 * Encapsulates the entire Wi-Fi lifecycle: event callbacks,
 * nRF7002 ready gate, credential-based connection, and DHCP.
 * The application layer registers a single callback that fires
 * when an IP address has been assigned.
 */

#ifndef WIFI_MGR_H_
#define WIFI_MGR_H_

/**
 * @brief Callback type invoked when DHCP assigns an IP address.
 *
 * @param ip_str  Null-terminated IPv4 address string (e.g. "192.168.1.100").
 */
typedef void (*wifi_connected_cb_t)(const char *ip_str);

/**
 * @brief Initialise the Wi-Fi subsystem and begin connection.
 *
 * Registers all required Zephyr net_mgmt callbacks internally,
 * waits for the nRF7002 firmware to become ready, issues a
 * connection request using stored credentials, and invokes
 * @p cb once DHCP binds an IPv4 address.
 *
 * @param cb  Function to call when the network is fully up.
 */
void wifi_mgr_init(wifi_connected_cb_t cb);

#endif /* WIFI_MGR_H_ */
```
